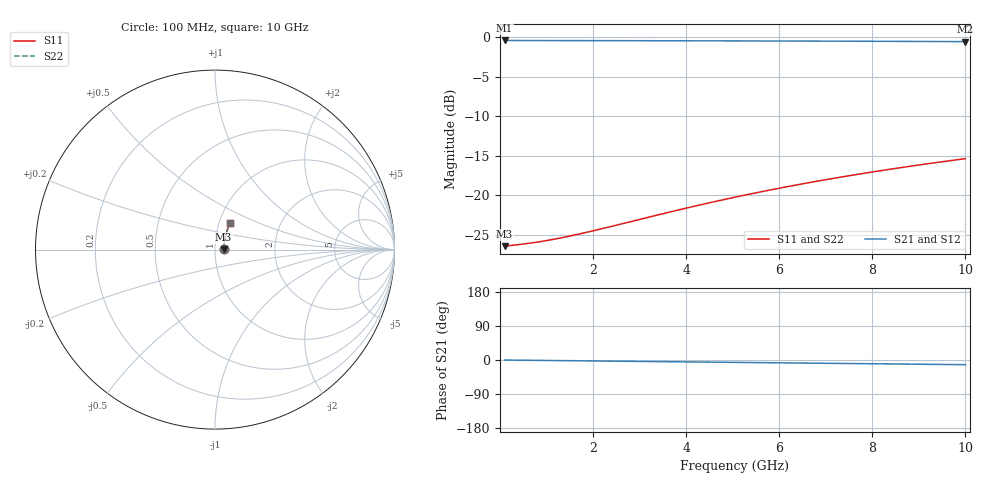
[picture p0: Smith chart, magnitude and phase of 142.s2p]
# Hz S RI R 50.00
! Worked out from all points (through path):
!   100 points, 100 MHz to 10 GHz, reference 50 ohm
!   highest |S21| = -0.42 dB at 100 MHz (marker M1); lowest = -0.6 dB at 10 GHz (marker M2)
!   group delay of S21, straight-line fit = 3.44 ps
!   lowest |S11| = -26.4 dB at 100 MHz (marker M3), VSWR 1.10, Z = 55 + j0.172 ohm
!   |S11| at or under -10 dB: start of sweep to end of sweep
!   |S22| runs from -26.4 to -15.4 dB; largest |S21 - S12| = 0
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1e8  0.0477 0.00156  0.9523 -0.00208  0.9523 -0.00208  0.0477 0.00156
6e8  0.0488 0.00932  0.9512 -0.0124  0.9512 -0.0124  0.0488 0.00932
9e8  0.0493 0.014  0.9507 -0.0186  0.9507 -0.0186  0.0493 0.014
1.1e9  0.0496 0.0171  0.9504 -0.0228  0.9504 -0.0228  0.0496 0.0171
1.3e9  0.0499 0.0201  0.9501 -0.0269  0.9501 -0.0269  0.0499 0.0201
1.5e9  0.0502 0.0232  0.9498 -0.031  0.9498 -0.031  0.0502 0.0232
1.8e9  0.0507 0.0279  0.9493 -0.0372  0.9493 -0.0372  0.0507 0.0279
2.3e9  0.0516 0.0356  0.9483 -0.0475  0.9483 -0.0475  0.0516 0.0356
3.4e9  0.0541 0.0524  0.9457 -0.07  0.9457 -0.07  0.0541 0.0524
3.9e9  0.0555 0.06  0.9443 -0.0802  0.9443 -0.0802  0.0555 0.06
4.3e9  0.0567 0.066  0.943 -0.0883  0.943 -0.0883  0.0567 0.066
4.7e9  0.058 0.072  0.9417 -0.0964  0.9417 -0.0964  0.058 0.072
5.1e9  0.0594 0.078  0.9402 -0.1045  0.9402 -0.1045  0.0594 0.078
5.5e9  0.0609 0.084  0.9387 -0.1126  0.9387 -0.1126  0.0609 0.084
5.9e9  0.0624 0.0899  0.9371 -0.1206  0.9371 -0.1206  0.0624 0.0899
6.3e9  0.0641 0.0958  0.9353 -0.1286  0.9353 -0.1286  0.0641 0.0958
6.7e9  0.0659 0.1017  0.9334 -0.1365  0.9334 -0.1365  0.0659 0.1017
7.5e9  0.0697 0.1133  0.9294 -0.1523  0.9294 -0.1523  0.0697 0.1133
7.9e9  0.0718 0.119  0.9273 -0.1601  0.9273 -0.1601  0.0718 0.119
8.4e9  0.0745 0.1261  0.9245 -0.1698  0.9245 -0.1698  0.0745 0.1261
9.2e9  0.0792 0.1374  0.9196 -0.1852  0.9196 -0.1852  0.0792 0.1374
1e10  0.0842 0.1484  0.9144 -0.2004  0.9144 -0.2004  0.0842 0.1484
